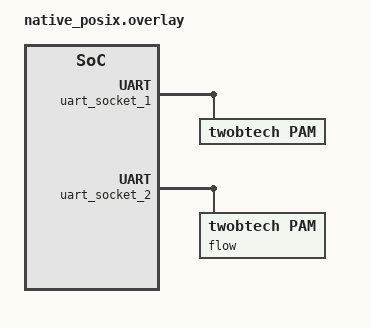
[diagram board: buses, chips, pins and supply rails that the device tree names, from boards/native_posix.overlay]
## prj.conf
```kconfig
# Support for printing floats
CONFIG_NEWLIB_LIBC=y
CONFIG_CBPRINTF_FP_SUPPORT=y

# Enable NanoPB and allow it to dynamically allocate memory
CONFIG_HEAP_MEM_POOL_SIZE=10240
CONFIG_NANOPB_ENABLE_MALLOC=y
CONFIG_NANOPB=y

# Enable the serial port
# Make the uart_socket driver interrupt driven
# But just use the polling method for the shell (ptty)
CONFIG_SERIAL=y
CONFIG_UART_INTERRUPT_DRIVEN=y
CONFIG_SHELL_BACKEND_SERIAL_INTERRUPT_DRIVEN=n

# More sim settings
CONFIG_NATIVE_POSIX_SLOWDOWN_TO_REAL_TIME=y

CONFIG_SHELL=y
CONFIG_RING_BUFFER=y
CONFIG_EVENTS=y
CONFIG_DEBUG=y

# Custom libraries
CONFIG_RPC_LIB=y


CONFIG_LOG=y
CONFIG_THREAD_STACK_INFO=y
CONFIG_KERNEL_SHELL=y
CONFIG_THREAD_MONITOR=y
CONFIG_BOOT_BANNER=y
CONFIG_THREAD_NAME=y
CONFIG_DEVICE_SHELL=y
CONFIG_POSIX_CLOCK=y
CONFIG_DATE_SHELL=y
CONFIG_THREAD_RUNTIME_STATS=y
CONFIG_THREAD_RUNTIME_STATS_USE_TIMING_FUNCTIONS=y
CONFIG_STATS=y
CONFIG_STATS_SHELL=y
```

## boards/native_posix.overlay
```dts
/ {
	parent {
		#address-cells = < 1 >;
		#size-cells = <0>;

		uart_socket_1: uart_socket@1e61 {
		
			compatible = "rumission,uart-socket";
			status = "okay";
			reg = <7777>;
			irqn=<3>;
	
			pam: pam {
				compatible = "twobtech,pam";
				status = "okay";
			};
		};
	
		uart_socket_2: uart_socket@1e62 {
	
			compatible = "rumission,uart-socket";
			status = "okay";
			reg = <7778>;
			irqn=<4>;
	
			flow: pam {
				compatible = "twobtech,pam";
				status = "okay";
			};
		};
	};
};
```

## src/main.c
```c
#include <zephyr/kernel.h>
#include <zephyr/device.h>

#include <lib/rpc/rpc.h>
#include <Protos/v1/rpc.h>
#include <drivers/misc/pam/pam.h>

#include <errno.h>
#include <stdio.h>

#include <zephyr/logging/log.h>
LOG_MODULE_REGISTER(main);

#define PAM_TARGET_ID   (2)
#define FLOW_TARGET_ID  (3)

const static struct device *uart_socket_1 = DEVICE_DT_GET(DT_NODELABEL(uart_socket_1));
const static struct device *uart_socket_2 = DEVICE_DT_GET(DT_NODELABEL(uart_socket_2));

const static struct device *pam = DEVICE_DT_GET(DT_NODELABEL(pam));
const static struct device *flow = DEVICE_DT_GET(DT_NODELABEL(flow));

static struct rpc rpc = {0};

K_MSGQ_DEFINE(flow_meter_records, sizeof(Record), 4, 4);

uint32_t rpc_ping(const InOut *arg, InOut *result)
{
    printk("test_func called!\n");

    uint32_t arg_int = arg->value.integer;
    uint32_t *result_int = &result->value.integer;

    *result_int = arg_int + 1;

    return 0;
}

/** 
 * @param arg       Data specified from the caller; cleaned up by the RPC lib immidately afterwards
 * @param result    Data to be returned to the caller; cleaned up by RPC after transmitting
 */
uint32_t rpc_post_record(const InOut *arg, InOut *result)
{
    printk("rpc_post_record called\n");

    if (arg->which_value != InOut_record_tag) return -EINVAL;

    // Put the argument into the message queue to be retrieved
    // from the main thread later
    Record record;
    pb_copy(Record_fields, &arg->value.record, &record);
    k_msgq_put(&flow_meter_records, &record, K_NO_WAIT);

    result->which_value = InOut_integer_tag;
    result->value.integer = 0;

    return 0;
}

uint32_t pam_ping(const struct device *dev, uint32_t arg_int, uint32_t *result, k_timeout_t timeout)
{
    InOut arg = {
        .which_value = InOut_integer_tag,
        .value.integer = arg_int,
    };
    InOut result_obj = {
        .which_value = InOut_integer_tag,
    };
    int rc = rpc_call(&rpc, PAM_TARGET_ID, FUNC_PING, &arg, &result_obj, timeout);
    if (rc == 0)
    {
        *result = result_obj.value.integer;
    }
    else
    {
        *result = 0;
    }
    return rc;
}

uint32_t pam_post_record(const struct device *dev, const Record *record, k_timeout_t timeout)
{
    InOut arg = {
        .which_value = InOut_record_tag,
    };
    pb_copy(Record_fields, record, &arg.value.record);

    InOut result = {
        .which_value = InOut_integer_tag,
    };

    return rpc_call(&rpc, PAM_TARGET_ID, FUNC_POST_RECORD, &arg, &result, timeout);
}

bool rpc_pam_read(struct rpc *rpc, Message *message)
{
    return pam_msgq_get(pam, message, K_FOREVER) == 0;
}

bool rpc_pam_write(struct rpc *rpc, Message *message)
{
    printk("Sending message to PAM:\n");
    message_print(message, 0);
    printk("---\n\n");
    return pam_write(pam, message);
}

bool rpc_flow_write(struct rpc *rpc, Message *message)
{
    printk("Sending message to Flow Meter:\n");
    message_print(message, 0);
    printk("---\n\n");
    return pam_write(flow, message);
}

int main(void)
{
    // k_sleep(K_SECONDS(15));

    if (!device_is_ready(uart_socket_1))
    {
        printk("UART is NOT ready\n");
        return -ENODEV;
    }

    if (!device_is_ready(pam))
    {
        printk("PAM is NOT ready\n");
        return -ENODEV;
    }

    rpc_register_function(&rpc, FUNC_PING, rpc_ping, InOut_integer_tag);
    rpc_register_function(&rpc, FUNC_POST_RECORD, rpc_post_record, InOut_record_tag);
    rpc_register_target(&rpc, PAM_TARGET_ID, rpc_pam_read, rpc_pam_write);
    rpc_register_target(&rpc, FLOW_TARGET_ID, rpc_pam_read, rpc_flow_write);

    Record record = { 0 };
    while (true)
    {

        if (k_msgq_get(&flow_meter_records, &record, K_FOREVER) == 0)
        {
            printk("-----Processing record\n");

            record.samples_count += 2;
            record.samples = realloc(record.samples, record.samples_count * sizeof(Sample));

            Sample *sample = &record.samples[record.samples_count - 2];
            sample->has_species = true;
            sample->species = SPECIE_METHANE_CONCENTRATION;
            sample->has_value = true;
            sample->value = 1.99f;
            sample->has_units = false;
            sample->location_count = 0;

            sample = &record.samples[record.samples_count - 1];
            sample->has_species = true;
            sample->species = SPECIE_H2_CONCENTRATION;
            sample->has_value = true;
            sample->value = 0.015f;
            sample->has_units = false;
            sample->location_count = 0;

            if (pam_post_record(pam, &record, K_SECONDS(1)) != 0)
            {
                printk("Error posting record to PAM\n");
            }
        } 
        k_cpu_idle();
    }
    

    return 0;
}

void flow_rx(void*, void*, void*);
K_THREAD_DEFINE(flow_tid, 4096, flow_rx, NULL, NULL, NULL, 5, 0, 0);

void flow_rx(void *p1, void *p2, void *p3)
{
    // Use the poll API to wait for the first message from any device
    const struct device *rpc_devs[] = {
        pam,
        flow,
    };

    struct k_poll_event events[ARRAY_SIZE(rpc_devs)];
    for (uint8_t rpc_dev_idx = 0; rpc_dev_idx < ARRAY_SIZE(rpc_devs); rpc_dev_idx++)
    {
        pam_msgq_poll_init(rpc_devs[rpc_dev_idx], &events[rpc_dev_idx]);
    }

    while (true)
    {
        int rc = k_poll(events, ARRAY_SIZE(events), K_FOREVER);

        if (rc == 0)
        {
            printk("Poll event triggered\n");

            Message message = { 0 };
            for (uint8_t rpc_dev_idx = 0; rpc_dev_idx < ARRAY_SIZE(rpc_devs); rpc_dev_idx++)
            {
                const struct device *rpc_dev = rpc_devs[rpc_dev_idx];
                if (pam_msgq_get(rpc_dev, &message, K_NO_WAIT) == 0)
                {
                    printk("Received message from %s:\n", rpc_dev->name);
                    message_print(&message, 0);
                    printk("---\n\n");
                    rpc_post(&rpc, rpc_dev_idx + 2, &message);
                }
            }
        }

    }
}
```
